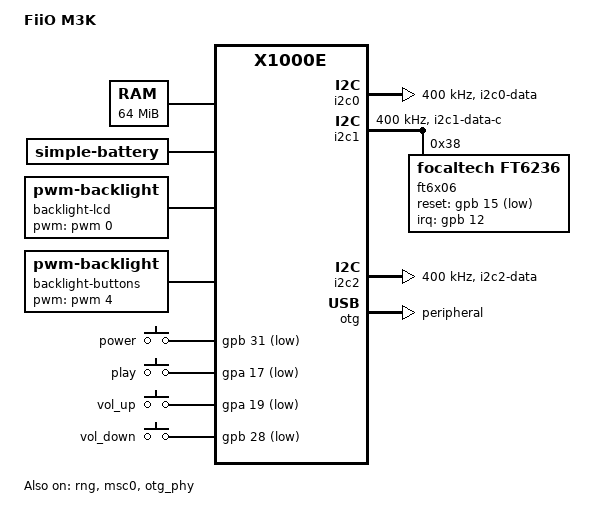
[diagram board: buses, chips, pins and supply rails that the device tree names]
// SPDX-License-Identifier: GPL-2.0
/dts-v1/;

#include "x1000.dtsi"
#include <dt-bindings/gpio/gpio.h>
#include <dt-bindings/input/input.h>
#include <dt-bindings/clock/ingenic,sysost.h>
#include <dt-bindings/interrupt-controller/irq.h>

/ {
	compatible = "fiio,m3k", "ingenic,x1000e";
	model = "FiiO M3K";

	memory {
		device_type = "memory";
		reg = <0x0 0x4000000>;
	};

	battery: battery {
		compatible = "simple-battery";

		device-chemistry = "lithium-ion";
		charge-full-design-microamp-hours = <1100000>;

		voltage-min-design-microvolt = <3300000>;
		voltage-max-design-microvolt = <4200000>;
		over-voltage-threshold-microvolt = <4400000>;

		constant-charge-current-max-microamp = <630000>;
		constant-charge-voltage-max-microvolt = <4200000>;
	};

	backlight-lcd {
		compatible = "pwm-backlight";
		pwms = <&pwm 0 33000 0>;

		pinctrl-names = "default";
		pinctrl-0 = <&pins_pwm0>;
	};

	backlight-buttons {
		compatible = "pwm-backlight";
		pwms = <&pwm 4 100000 0>;

		pinctrl-names = "default";
		pinctrl-0 = <&pins_pwm4>;
	};

	gpio-keys {
		compatible = "gpio-keys";

		button-0 {
			label = "power";
			linux,code = <KEY_POWER>;
			gpios = <&gpb 31 GPIO_ACTIVE_LOW>;
		};

		button-1 {
			label = "play";
			linux,code = <KEY_PLAY>;
			gpios = <&gpa 17 GPIO_ACTIVE_LOW>;
		};

		button-2 {
			label = "vol_up";
			linux,code = <KEY_VOLUMEUP>;
			gpios = <&gpa 19 GPIO_ACTIVE_LOW>;
		};

		button-3 {
			label = "vol_down";
			linux,code = <KEY_VOLUMEDOWN>;
			gpios = <&gpb 28 GPIO_ACTIVE_LOW>;
		};
	};
};

&exclk {
	clock-frequency = <24000000>;
};

&cgu {
	/*
	 * Use the 32.768 kHz oscillator as the parent of the RTC for a higher
	 * precision.
	 */
	assigned-clocks = <&cgu X1000_CLK_RTC>;
	assigned-clock-parents = <&cgu X1000_CLK_RTCLK>;
};

&ost {
	/* 1500 kHz for the system timer and clocksource */
	assigned-clocks = <&ost OST_CLK_PERCPU_TIMER>,
			  <&ost OST_CLK_GLOBAL_TIMER>;
	assigned-clock-rates = <1500000>,
			       <1500000>;
};

&tcu {
	/*
	 * Set channel mask to allow PWM0 and PWM4 to be used.
	 */
	ingenic,pwm-channels-mask = <0x11>;

	/*
	 * Use PCLK as the parent for the PWM backlight timer to
	 * maximize the number of brightness steps.
	 *
	 * Also have to set timer2 to avoid a driver probe error
	 * Set WDT since it seems needed
	 * Set timer1 just in case it is getting used but idk
	 * TODO recheck this stuff
	 */
	assigned-clocks = <&tcu TCU_CLK_TIMER0>,
			  <&tcu TCU_CLK_TIMER1>,
			  <&tcu TCU_CLK_TIMER2>,
			  <&tcu TCU_CLK_WDT>;
	assigned-clock-parents = <&cgu X1000_CLK_PCLK>,
				 <&cgu X1000_CLK_PCLK>,
				 <&cgu X1000_CLK_PCLK>,
				 <&cgu X1000_CLK_RTCLK>;
	assigned-clock-rates = <0>,
			       <1500000>,
			       <1500000>,
			       <24000000>;
};

&rtc {
	ingenic,rtc-valid-value = <0x52544356>;
};

&rng {
	status = "okay";
};

&i2c0 {
	status = "okay";

	clock-frequency = <400000>;

	pinctrl-names = "default";
	pinctrl-0 = <&pins_i2c0>;
};

&i2c1 {
	status = "okay";

	clock-frequency = <400000>;

	pinctrl-names = "default";
	pinctrl-0 = <&pins_i2c1>;

	ft6x06: touchscreen@38 {
		/* Max 2 touchpoints reported */
		compatible = "focaltech,ft6236";
		reg = <0x38>;

		interrupt-parent = <&gpb>;
		interrupts = <12 IRQ_TYPE_EDGE_FALLING>;

		reset-gpios = <&gpb 15 GPIO_ACTIVE_LOW>;

		touchscreen-size-x = <240>;
		touchscreen-size-y = <901>;
	};
};

&i2c2 {
	status = "okay";

	clock-frequency = <400000>;

	pinctrl-names = "default";
	pinctrl-0 = <&pins_i2c2>;
};

&msc0 {
	status = "okay";

	bus-width = <4>;
	max-frequency = <50000000>;

	pinctrl-names = "default";
	pinctrl-0 = <&pins_msc0>;

	cd-gpios = <&gpb 6 GPIO_ACTIVE_LOW>;
};

&otg {
	status = "okay";
	dr_mode = "peripheral";
};

&otg_phy {
	status = "okay";
};

&pinctrl {
	pins_i2c0: i2c0 {
		function = "i2c0";
		groups = "i2c0-data";
		bias-pull-up;
	};

	pins_i2c1: i2c1 {
		function = "i2c1";
		groups = "i2c1-data-c";
		bias-pull-up;
	};

	pins_i2c2: i2c2 {
		function = "i2c2";
		groups = "i2c2-data";
		bias-pull-up;
	};

	pins_msc0: msc0 {
		function = "mmc0";
		groups = "mmc0-1bit", "mmc0-4bit";
		bias-disable;
	};

	pins_pwm0: pwm0 {
		function = "pwm0";
		groups = "pwm0";
	};

	pins_pwm4: pwm4 {
		function = "pwm4";
		groups = "pwm4";
	};
};
